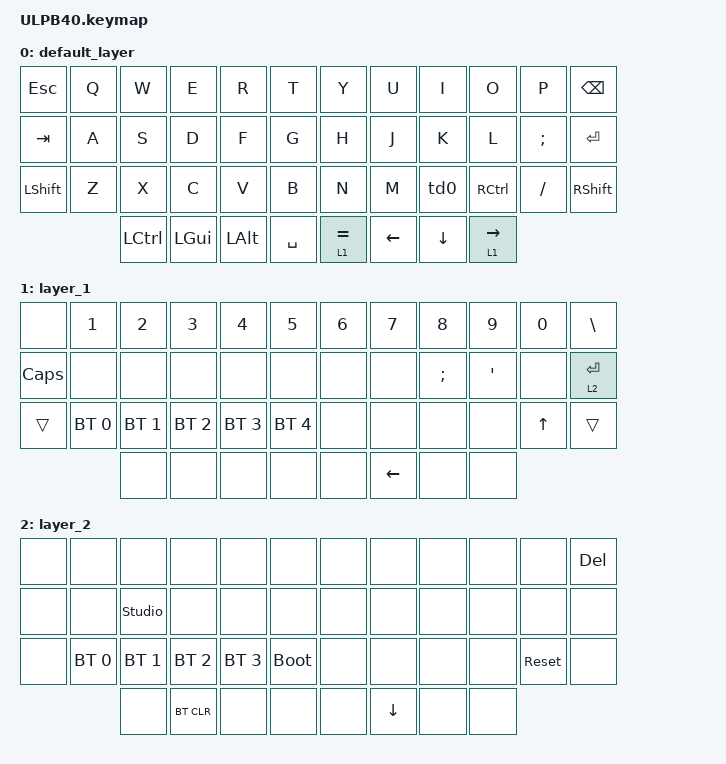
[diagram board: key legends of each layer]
#include <behaviors.dtsi>
#include <dt-bindings/zmk/bt.h>
#include <dt-bindings/zmk/keys.h>
#include <dt-bindings/zmk/mouse.h>


/ {
    behaviors {
        td0: tap_dance_0 {
            compatible = "zmk,behavior-tap-dance";
            #binding-cells = <0>;
            tapping-term-ms = <180>;
            bindings = <&kp COMMA>, <&kp DOT>;
        };
    };

    keymap {
        compatible = "zmk,keymap";

        default_layer {
            bindings = <
&kp ESC  &kp Q     &kp W     &kp E        &kp R       &kp T     &kp Y      &kp U  &kp I        &kp O      &kp P            &kp BACKSPACE
&kp TAB    &kp A     &kp S     &kp D        &kp F       &kp G     &kp H      &kp J  &kp K        &kp L      &kp SEMICOLON  &kp ENTER
&kp LSHFT  &kp Z     &kp X     &kp C        &kp V       &kp B     &kp N      &kp M  &td0  &kp RCTRL  &kp SLASH     &kp RSHIFT
&kp LCTRL  &kp LGUI  &kp LALT  &kp SPACE  &lt 1 EQUAL &kp LEFT &kp DOWN  &lt 1 RIGHT
            >;
        };

        layer_1 {
            bindings = <
&none      &kp N1   &kp N2   &kp N3   &kp N4   &kp N5   &kp N6   &kp N7   &kp N8   &kp N9   &kp N0   &kp BACKSLASH
&kp CAPSLOCK  &none    &none    &none    &none    &none    &none    &none    &kp SEMICOLON   &kp SINGLE_QUOTE    &none    &lt 2 ENTER
&trans      &bt BT_SEL 0  &bt BT_SEL 1  &bt BT_SEL 2  &bt BT_SEL 3  &bt BT_SEL 4  &none  &none   &none    &none    &kp UP    &trans
&none      &none  &none  &none  &none &kp LEFT  &none  &none
            >;
        };

        layer_2 {
            bindings = <
&none      &none   &none   &none   &none   &none   &none   &none   &none   &none   &none   &kp DEL
&none  &none    &studio_unlock    &none    &none    &none    &none    &none    &none    &none    &none    &none
&none      &bt BT_SEL 0  &bt BT_SEL 1  &bt BT_SEL 2  &bt BT_SEL 3  &bootloader  &none  &none   &none    &none    &sys_reset    &none
&none      &bt BT_CLR  &none  &none  &none &kp DOWN  &none  &none
            >;
        };
    };
};
